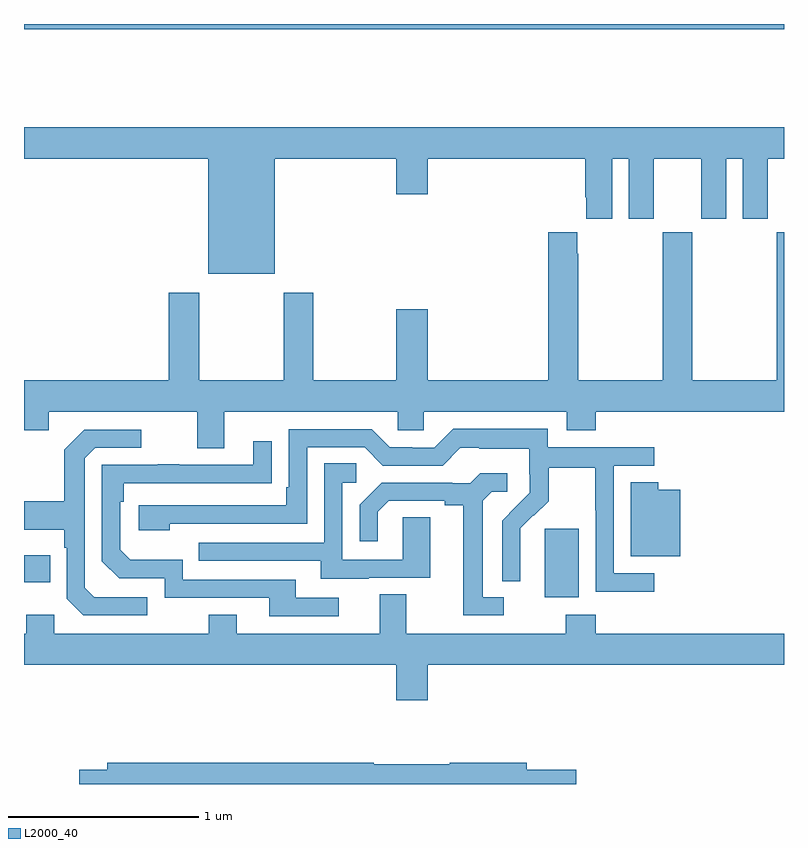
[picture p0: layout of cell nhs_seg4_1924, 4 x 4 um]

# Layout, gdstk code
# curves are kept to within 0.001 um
import gdstk
lib = gdstk.Library(unit=1e-6, precision=1e-09)
def R(c, l, rs):  # rectangles x0, y0, x1, y1
    for r in rs: c.add(gdstk.rectangle(r[:2], r[2:], *l))
def P(c, l, *ps):  # polygons
    for p in ps: c.add(gdstk.Polygon(p, *l))
L2000_40 = (2000, 40)

nhs_seg4_1924 = lib.new_cell('nhs_seg4_1924')
R(nhs_seg4_1924, L2000_40, [(213.74,755.882,213.919,756.243), (211,755.963,211.139,756.103), (211,758.872,215,758.9)])
P(nhs_seg4_1924, L2000_40, [(212.32,758.192),(212.96,758.192),(212.96,758.004),(213.124,758.004),(213.124,758.192),(213.953,758.192),(213.953,757.987),(213.959,757.987),(213.959,757.875),(214.096,757.875),(214.096,758.192),(214.184,758.192),(214.184,757.875),(214.315,757.875),(214.315,758.192),(214.565,758.192),(214.565,757.875),(214.696,757.875),(214.696,758.192),(214.784,758.192),(214.784,757.875),(214.915,757.875),(214.915,758.192),(215,758.192),(215,758.356),(211,758.356),(211,758.192),(211.97,758.192),(211.97,757.586),(212.32,757.586)],
  [(212.053,756.86),(212.967,756.86),(212.967,756.762),(213.105,756.762),(213.105,756.86),(213.857,756.86),(213.857,756.761),(214.01,756.761),(214.01,756.86),(215,756.86),(215,757.804),(214.963,757.804),(214.963,757.024),(214.518,757.024),(214.518,757.804),(214.363,757.804),(214.363,757.024),(213.918,757.024),(213.918,757.691),(213.913,757.691),(213.913,757.804),(213.758,757.804),(213.758,757.024),(213.124,757.024),(213.124,757.399),(212.96,757.399),(212.96,757.024),(212.523,757.024),(212.523,757.486),(212.368,757.486),(212.368,757.024),(211.923,757.024),(211.923,757.486),(211.763,757.486),(211.763,757.024),(211,757.024),(211,756.761),(211.129,756.761),(211.129,756.86),(211.913,756.86),(211.913,756.666),(212.053,756.666)],
  [(214.318,756.009),(214.104,756.009),(214.104,756.576),(214.318,756.576),(214.318,756.672),(213.756,756.672),(213.756,756.769),(213.259,756.769),(213.159,756.669),(213.044,756.669),(213.044,756.672),(212.925,756.672),(212.829,756.768),(212.394,756.768),(212.394,756.463),(212.381,756.463),(212.381,756.366),(211.605,756.366),(211.605,756.236),(211.766,756.236),(211.766,756.27),(212.49,756.27),(212.49,756.672),(212.793,756.672),(212.889,756.576),(213.204,756.576),(213.297,756.669),(213.397,756.669),(213.397,756.665),(213.66,756.665),(213.66,756.531),(213.662,756.531),(213.662,756.434),(213.516,756.286),(213.516,755.968),(213.612,755.968),(213.611,756.245),(213.681,756.315),(213.684,756.312),(213.761,756.389),(213.761,756.564),(214.006,756.564),(214.006,756.34),(214.008,756.34),(214.008,755.911),(214.318,755.911)],
  [(211.648,755.883),(211.371,755.883),(211.32,755.934),(211.32,756.615),(211.374,756.669),(211.618,756.669),(211.618,756.765),(211.317,756.765),(211.212,756.659),(211.212,756.387),(211,756.387),(211,756.239),(211.212,756.239),(211.212,756.143),(211.224,756.143),(211.224,755.874),(211.311,755.787),(211.648,755.787)],
  [(212.656,755.88),(212.431,755.88),(212.431,755.976),(211.836,755.976),(211.836,756.079),(211.559,756.079),(211.506,756.132),(211.506,756.386),(211.526,756.386),(211.526,756.483),(212.303,756.484),(212.303,756.703),(212.207,756.703),(212.207,756.579),(211.817,756.579),(211.817,756.584),(211.705,756.584),(211.705,756.579),(211.41,756.579),(211.41,756.072),(211.5,755.982),(211.74,755.982),(211.74,755.88),(212.291,755.88),(212.291,755.784),(212.656,755.784)],
  [(212.815,755.985),(213.139,755.985),(213.139,756.305),(212.994,756.305),(212.994,756.081),(212.676,756.081),(212.676,756.486),(212.749,756.486),(212.749,756.587),(212.58,756.587),(212.58,756.171),(211.921,756.171),(211.921,756.075),(212.561,756.075),(212.561,755.981),(212.815,755.981)],
  [(213.526,755.883),(213.415,755.883),(213.415,756.391),(213.462,756.438),(213.544,756.438),(213.544,756.535),(213.4,756.535),(213.348,756.483),(213.254,756.483),(213.254,756.486),(212.882,756.486),(212.766,756.37),(212.766,756.177),(212.863,756.177),(212.863,756.333),(212.92,756.39),(213.215,756.39),(213.215,756.368),(213.311,756.368),(213.311,755.787),(213.526,755.787)],
  [(214.453,756.448),(214.337,756.448),(214.337,756.487),(214.193,756.487),(214.193,756.098),(214.453,756.098)],
  [(213.124,755.528),(215,755.528),(215,755.692),(214.01,755.692),(214.01,755.791),(213.85,755.791),(213.85,755.692),(213.013,755.692),(213.013,755.9),(212.873,755.9),(212.873,755.692),(212.119,755.692),(212.119,755.791),(211.972,755.791),(211.972,755.692),(211.158,755.692),(211.158,755.791),(211.012,755.791),(211.012,755.692),(211,755.692),(211,755.528),(212.96,755.528),(212.96,755.34),(213.124,755.34)],
  [(213.907,754.976),(213.646,754.976),(213.646,755.012),(213.242,755.012),(213.242,755.005),(212.842,755.005),(212.842,755.012),(211.439,755.012),(211.439,754.976),(211.29,754.976),(211.29,754.9),(213.907,754.9)])

lib.write_gds('nhs_seg4_1924.gds')
